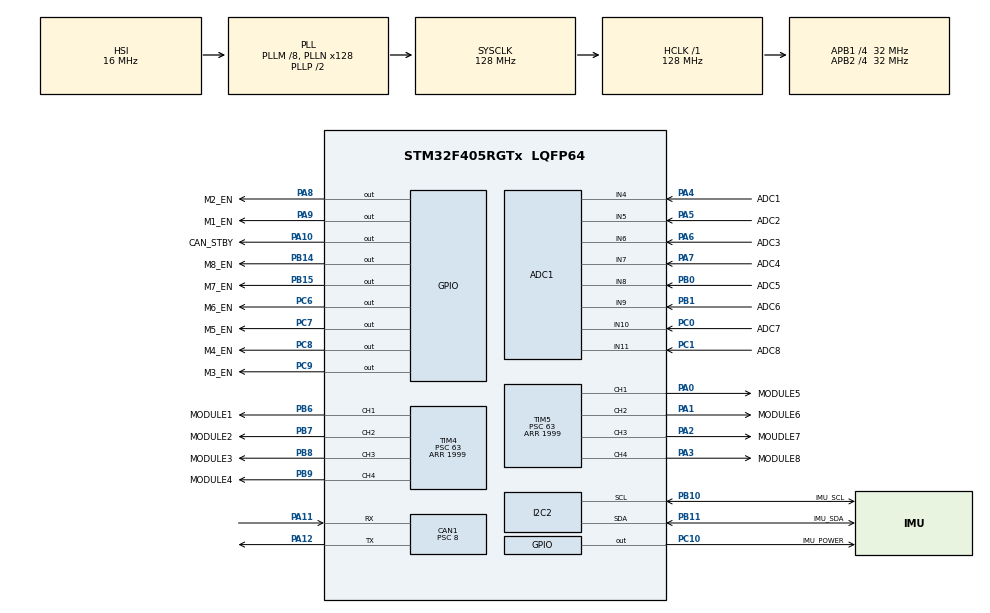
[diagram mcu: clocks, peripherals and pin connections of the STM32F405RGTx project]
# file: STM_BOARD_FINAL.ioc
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ADC1.Channel-0\#ChannelRegularConversion=ADC_CHANNEL_4
ADC1.Channel-1\#ChannelRegularConversion=ADC_CHANNEL_5
ADC1.Channel-2\#ChannelRegularConversion=ADC_CHANNEL_6
ADC1.Channel-3\#ChannelRegularConversion=ADC_CHANNEL_7
ADC1.Channel-4\#ChannelRegularConversion=ADC_CHANNEL_8
ADC1.Channel-5\#ChannelRegularConversion=ADC_CHANNEL_9
ADC1.Channel-6\#ChannelRegularConversion=ADC_CHANNEL_10
ADC1.Channel-7\#ChannelRegularConversion=ADC_CHANNEL_11
ADC1.ClockPrescaler=ADC_CLOCK_SYNC_PCLK_DIV8
ADC1.ContinuousConvMode=ENABLE
ADC1.DMAContinuousRequests=ENABLE
ADC1.EOCSelection=ADC_EOC_SEQ_CONV
ADC1.InjNumberOfConversion=0
ADC1.NbrOfConversion=8
ADC1.NbrOfConversionFlag=1
ADC1.Rank-0\#ChannelRegularConversion=1
ADC1.Rank-1\#ChannelRegularConversion=2
ADC1.Rank-2\#ChannelRegularConversion=3
ADC1.Rank-3\#ChannelRegularConversion=4
ADC1.Rank-4\#ChannelRegularConversion=5
ADC1.Rank-5\#ChannelRegularConversion=6
ADC1.Rank-6\#ChannelRegularConversion=7
ADC1.Rank-7\#ChannelRegularConversion=8
ADC1.SamplingTime-0\#ChannelRegularConversion=ADC_SAMPLETIME_3CYCLES
ADC1.SamplingTime-1\#ChannelRegularConversion=ADC_SAMPLETIME_3CYCLES
ADC1.SamplingTime-2\#ChannelRegularConversion=ADC_SAMPLETIME_3CYCLES
ADC1.SamplingTime-3\#ChannelRegularConversion=ADC_SAMPLETIME_3CYCLES
ADC1.SamplingTime-4\#ChannelRegularConversion=ADC_SAMPLETIME_3CYCLES
ADC1.SamplingTime-5\#ChannelRegularConversion=ADC_SAMPLETIME_3CYCLES
ADC1.SamplingTime-6\#ChannelRegularConversion=ADC_SAMPLETIME_3CYCLES
ADC1.SamplingTime-7\#ChannelRegularConversion=ADC_SAMPLETIME_3CYCLES
ADC1.ScanConvMode=ENABLE
ADC1.master=1
CAN1.BS1=CAN_BS1_2TQ
CAN1.CalculateTimeQuantum=250.0
CAN1.Prescaler=8
Dma.ADC1.0.Direction=DMA_PERIPH_TO_MEMORY
Dma.ADC1.0.FIFOMode=DMA_FIFOMODE_DISABLE
Dma.ADC1.0.Instance=DMA2_Stream0
Dma.ADC1.0.MemDataAlignment=DMA_MDATAALIGN_HALFWORD
Dma.ADC1.0.MemInc=DMA_MINC_ENABLE
Dma.ADC1.0.Mode=DMA_CIRCULAR
Dma.ADC1.0.PeriphDataAlignment=DMA_PDATAALIGN_HALFWORD
Dma.ADC1.0.PeriphInc=DMA_PINC_DISABLE
Dma.ADC1.0.Priority=DMA_PRIORITY_LOW
Dma.I2C2_RX.1.Direction=DMA_PERIPH_TO_MEMORY
Dma.I2C2_RX.1.FIFOMode=DMA_FIFOMODE_DISABLE
Dma.I2C2_RX.1.Instance=DMA1_Stream2
Dma.I2C2_RX.1.MemDataAlignment=DMA_MDATAALIGN_BYTE
Dma.I2C2_RX.1.MemInc=DMA_MINC_ENABLE
Dma.I2C2_RX.1.Mode=DMA_NORMAL
Dma.I2C2_RX.1.PeriphDataAlignment=DMA_PDATAALIGN_BYTE
Dma.I2C2_RX.1.PeriphInc=DMA_PINC_DISABLE
Dma.I2C2_RX.1.Priority=DMA_PRIORITY_LOW
Dma.I2C2_TX.2.Direction=DMA_MEMORY_TO_PERIPH
Dma.I2C2_TX.2.FIFOMode=DMA_FIFOMODE_DISABLE
Dma.I2C2_TX.2.Instance=DMA1_Stream7
Dma.I2C2_TX.2.MemDataAlignment=DMA_MDATAALIGN_BYTE
Dma.I2C2_TX.2.MemInc=DMA_MINC_ENABLE
Dma.I2C2_TX.2.Mode=DMA_NORMAL
Dma.I2C2_TX.2.PeriphDataAlignment=DMA_PDATAALIGN_BYTE
Dma.I2C2_TX.2.PeriphInc=DMA_PINC_DISABLE
Dma.I2C2_TX.2.Priority=DMA_PRIORITY_LOW
Dma.Request0=ADC1
Dma.Request1=I2C2_RX
Dma.Request2=I2C2_TX
Mcu.Family=STM32F4
Mcu.Name=STM32F405RGTx
Mcu.Package=LQFP64
NVIC.CAN1_RX0_IRQn=true\:0\:0\:false\:false\:true\:true\:true
NVIC.CAN1_RX1_IRQn=true\:0\:0\:false\:false\:true\:true\:true
NVIC.CAN1_TX_IRQn=true\:0\:0\:false\:false\:true\:true\:true
NVIC.DMA1_Stream2_IRQn=true\:0\:0\:false\:false\:true\:false\:true
NVIC.DMA1_Stream7_IRQn=true\:0\:0\:false\:false\:true\:false\:true
NVIC.DMA2_Stream0_IRQn=true\:0\:0\:false\:false\:true\:false\:true
NVIC.I2C2_ER_IRQn=true\:0\:0\:true\:false\:true\:true\:true
NVIC.I2C2_EV_IRQn=true\:0\:0\:true\:false\:true\:true\:true
NVIC.PriorityGroup=NVIC_PRIORITYGROUP_4
NVIC.TIM2_IRQn=true\:0\:0\:false\:false\:true\:true\:true
NVIC.TIM3_IRQn=true\:0\:0\:false\:false\:true\:true\:true
PA0-WKUP.GPIO_Label=MODULE5
PA0-WKUP.Signal=S_TIM5_CH1
PA1.GPIO_Label=MODULE6
PA1.Signal=S_TIM5_CH2
PA10.GPIO_Label=CAN_STBY
PA10.Signal=GPIO_Output
PA11.Mode=Master
PA11.Signal=CAN1_RX
PA12.Mode=Master
PA12.Signal=CAN1_TX
PA13.Mode=Serial_Wire
PA13.Signal=SYS_JTMS-SWDIO
PA14.Mode=Serial_Wire
PA14.Signal=SYS_JTCK-SWCLK
PA2.GPIO_Label=MOUDLE7
PA2.Signal=S_TIM5_CH3
PA3.GPIO_Label=MODULE8
PA3.Signal=S_TIM5_CH4
PA4.GPIO_Label=ADC1
PA4.Signal=ADCx_IN4
PA5.GPIO_Label=ADC2
PA5.Signal=ADCx_IN5
PA6.GPIO_Label=ADC3
PA6.Signal=ADCx_IN6
PA7.GPIO_Label=ADC4
PA7.Signal=ADCx_IN7
PA8.GPIO_Label=M2_EN
PA8.Signal=GPIO_Output
PA9.GPIO_Label=M1_EN
PA9.Signal=GPIO_Output
PB0.GPIO_Label=ADC5
PB0.Signal=ADCx_IN8
PB1.GPIO_Label=ADC6
PB1.Signal=ADCx_IN9
PB10.GPIO_Label=IMU_SCL
PB10.Mode=I2C
PB10.Signal=I2C2_SCL
PB11.GPIO_Label=IMU_SDA
PB11.Mode=I2C
PB11.Signal=I2C2_SDA
PB14.GPIO_Label=M8_EN
PB14.Signal=GPIO_Output
PB15.GPIO_Label=M7_EN
PB15.Signal=GPIO_Output
PB6.GPIO_Label=MODULE1
PB6.Signal=S_TIM4_CH1
PB7.GPIO_Label=MODULE2
PB7.Signal=S_TIM4_CH2
PB8.GPIO_Label=MODULE3
PB8.Signal=S_TIM4_CH3
PB9.GPIO_Label=MODULE4
PB9.Signal=S_TIM4_CH4
PC0.GPIO_Label=ADC7
PC0.Signal=ADCx_IN10
PC1.GPIO_Label=ADC8
PC1.Signal=ADCx_IN11
PC10.GPIO_Label=IMU_POWER
PC10.GPIO_PuPd=GPIO_PULLUP
PC10.PinState=GPIO_PIN_SET
PC10.Signal=GPIO_Output
PC6.GPIO_Label=M6_EN
PC6.Signal=GPIO_Output
PC7.GPIO_Label=M5_EN
PC7.Signal=GPIO_Output
PC8.GPIO_Label=M4_EN
PC8.Signal=GPIO_Output
PC9.GPIO_Label=M3_EN
PC9.Signal=GPIO_Output
PH0-OSC_IN.Mode=HSE-External-Oscillator
PH0-OSC_IN.Signal=RCC_OSC_IN
PH1-OSC_OUT.Mode=HSE-External-Oscillator
PH1-OSC_OUT.Signal=RCC_OSC_OUT
ProjectManager.HeapSize=0x200
ProjectManager.StackSize=0x400
ProjectManager.TargetToolchain=SW4STM32
RCC.48MHZClocksFreq_Value=64000000
RCC.AHBFreq_Value=128000000
RCC.APB1CLKDivider=RCC_HCLK_DIV4
RCC.APB1Freq_Value=32000000
RCC.APB1TimFreq_Value=64000000
RCC.APB2CLKDivider=RCC_HCLK_DIV4
RCC.APB2Freq_Value=32000000
RCC.APB2TimFreq_Value=64000000
RCC.CortexFreq_Value=128000000
RCC.HCLKFreq_Value=128000000
RCC.HSE_VALUE=25000000
RCC.HSI_VALUE=16000000
RCC.LSE_VALUE=32768
RCC.PLLM=8
RCC.PLLN=128
RCC.SYSCLKFreq_VALUE=128000000
RCC.SYSCLKSource=RCC_SYSCLKSOURCE_PLLCLK
RCC.VCOOutputFreq_Value=256000000
SH.ADCx_IN10.0=ADC1_IN10,IN10
SH.ADCx_IN11.0=ADC1_IN11,IN11
SH.ADCx_IN4.0=ADC1_IN4,IN4
SH.ADCx_IN5.0=ADC1_IN5,IN5
SH.ADCx_IN6.0=ADC1_IN6,IN6
SH.ADCx_IN7.0=ADC1_IN7,IN7
SH.ADCx_IN8.0=ADC1_IN8,IN8
SH.ADCx_IN9.0=ADC1_IN9,IN9
SH.S_TIM4_CH1.0=TIM4_CH1,PWM Generation1 CH1
SH.S_TIM4_CH2.0=TIM4_CH2,PWM Generation2 CH2
SH.S_TIM4_CH3.0=TIM4_CH3,PWM Generation3 CH3
SH.S_TIM4_CH4.0=TIM4_CH4,PWM Generation4 CH4
SH.S_TIM5_CH1.0=TIM5_CH1,PWM Generation1 CH1
SH.S_TIM5_CH2.0=TIM5_CH2,PWM Generation2 CH2
SH.S_TIM5_CH3.0=TIM5_CH3,PWM Generation3 CH3
SH.S_TIM5_CH4.0=TIM5_CH4,PWM Generation4 CH4
TIM2.Period=0xFFFFFFFF
TIM2.Prescaler=63
TIM3.AutoReloadPreload=TIM_AUTORELOAD_PRELOAD_ENABLE
TIM3.Period=99
TIM3.Prescaler=63
TIM3.TIM_MasterOutputTrigger=TIM_TRGO_RESET
TIM4.AutoReloadPreload=TIM_AUTORELOAD_PRELOAD_ENABLE
TIM4.Channel-PWM\ Generation1\ CH1=TIM_CHANNEL_1
TIM4.Channel-PWM\ Generation2\ CH2=TIM_CHANNEL_2
TIM4.Channel-PWM\ Generation3\ CH3=TIM_CHANNEL_3
TIM4.Channel-PWM\ Generation4\ CH4=TIM_CHANNEL_4
TIM4.Period=1999
TIM4.Prescaler=63
TIM4.Pulse-PWM\ Generation1\ CH1=1499
TIM4.Pulse-PWM\ Generation2\ CH2=1499
TIM4.Pulse-PWM\ Generation3\ CH3=1499
TIM4.Pulse-PWM\ Generation4\ CH4=1499
TIM5.AutoReloadPreload=TIM_AUTORELOAD_PRELOAD_ENABLE
TIM5.Channel-PWM\ Generation1\ CH1=TIM_CHANNEL_1
TIM5.Channel-PWM\ Generation2\ CH2=TIM_CHANNEL_2
TIM5.Channel-PWM\ Generation3\ CH3=TIM_CHANNEL_3
TIM5.Channel-PWM\ Generation4\ CH4=TIM_CHANNEL_4
TIM5.Period=1999
TIM5.Prescaler=63
TIM5.Pulse-PWM\ Generation1\ CH1=1499
TIM5.Pulse-PWM\ Generation2\ CH2=1499
TIM5.Pulse-PWM\ Generation3\ CH3=1499
TIM5.Pulse-PWM\ Generation4\ CH4=1499
VP_TIM2_VS_ClockSourceINT.Mode=Internal
VP_TIM3_VS_ClockSourceINT.Mode=Internal
VP_TIM4_VS_ClockSourceINT.Mode=Internal
VP_TIM5_VS_ClockSourceINT.Mode=Internal
board=custom

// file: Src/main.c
/* USER CODE BEGIN Header */
/**
  ******************************************************************************
  * @file           : main.c
  * @brief          : Main program body
  ******************************************************************************
  * @attention
  *
  * <h2><center>&copy; Copyright (c) 2019 STMicroelectronics.
  * All rights reserved.</center></h2>
  *
  * This software component is licensed by ST under BSD 3-Clause license,
  * the "License"; You may not use this file except in compliance with the
  * License. You may obtain a copy of the License at:
  *                        opensource.org/licenses/BSD-3-Clause
  *
  ******************************************************************************
  */
/* USER CODE END Header */

#include "main.h"
#include "adc.h"
#include "can.h"
#include "dma.h"
#include "i2c.h"
#include "tim.h"
#include "gpio.h"

/* USER CODE BEGIN Includes */
#include "LSM6DS33.h"
#include "LIS3MDL.h"
#include "IMU.h"
#include "PID.h"
#include "can_parser.h"
/* USER CODE END Includes */

/* USER CODE BEGIN PV */

uint16_t VirtAddVarTab[NB_OF_VAR] = {0x0000, 0x0001, 0x0002,0x0003,0x0004, 0x0005, 0x0006,0x0007,
									 0x0008, 0x0009, 0x000A,0x000B,0x000C, 0x000D, 0x000E,0x000F,
									 0x0010, 0x0011, 0x0012,0x0013,0x0014, 0x0015, 0x0016};

#define VERSION_STR_LENG 35

float MFX_DELTATIME =  0.010;

char lib_version[VERSION_STR_LENG];
char acc_orientation[3];

//MFX_knobs_t iKnobs;
//MFX_input_t data_in;W
//MFX_output_t data_out;

float ypr[3];

volatile uint16_t Timer1, Timer2, Timer3, Timer4;

/* USER CODE END PV */

void SystemClock_Config(void);

int main(void)
{

  /* MCU Configuration--------------------------------------------------------*/

  /* Reset of all peripherals, Initializes the Flash interface and the Systick. */
  HAL_Init();

  /* Configure the system clock */
  SystemClock_Config();

  /* Initialize all configured peripherals */
  MX_GPIO_Init();
  MX_DMA_Init();
  MX_ADC1_Init();
  MX_CAN1_Init();
  MX_I2C2_Init();
  MX_TIM4_Init();
  MX_TIM5_Init();
  MX_TIM2_Init();
  MX_TIM3_Init();
  /* USER CODE BEGIN 2 */

  IMU_OFF();
  HAL_Delay(100);
  IMU_ON();
  HAL_TIM_Base_Start(&htim2);
  MODULE_Init();
  HAL_Delay(5000);
  ENGINE_Init();
  HAL_TIM_Base_Start_IT(&htim3);
  CAN_PARSER_Init();

  PID_Init(&PID_RegRoll, PID_ROLL_INIT_P, PID_ROLL_INIT_I, PID_ROLL_INIT_D);
  PID_Init(&PID_RegPitch, PID_PITCH_INIT_P, PID_PITCH_INIT_I, PID_PITCH_INIT_D);
  PID_Init(&PID_RegYaw, PID_YAW_INIT_P, PID_YAW_INIT_I, PID_YAW_INIT_D);

//  HAL_GPIO_WritePin(GPIOB,GPIO_PIN_14,SET);

  HAL_SYSTICK_Config(SystemCoreClock/1000);
  LSM6DS33_Init(ODR_104HZ,ODR_104HZ);
  HAL_Delay(100);
  LIS3MDL_Init(ODR_80HZ);
  HAL_Delay(100);
  Timer1 = 100;
  Timer2 = 10;
  Timer3 = 5;
  Timer4 = 12;

  /* USER CODE END 2 */

  /* Infinite loop */
  /* USER CODE BEGIN WHILE */

      //	MotionFX_initialize();
      //	MotionFX_GetLibVersion(lib_version);
      	//MotionFX_getKnobs(&iKnobs);
      	/* Modify knobs settings */
      	//MotionFX_setKnobs(&iKnobs);
      	/* Enable 9-axis sensor fusion */
      	//MotionFX_enable_9X(MFX_ENGINE_ENABLE);

    IMU_init();
    Initialize_Q();
    while (1)
    {
  	  if(!Timer2)
  	 	 	  {
  		 IMU_getYawPitchRoll(ypr);

  	 	 		  Timer2 = 10;

  	 	 	  }
  	  if(!Timer4)
  	  {
  		  //MotionFX_propagate(&data_out, &data_in, &MFX_DELTATIME);
  		//  MotionFX_update(&data_out, &data_in, &MFX_DELTATIME, NULL);
  		  Timer4 = 10;
  	  }
  	  if(!Timer3)
  	  	  {
  //	  				data_in.acc[0] = accGyroData.accX /ACC_SCALE;
  //	  				data_in.acc[1] = accGyroData.accY  /ACC_SCALE;
  //	  				data_in.acc[2] = accGyroData.accZ / ACC_SCALE;
  //	  				data_in.gyro[0] = ((accGyroData.gyroX ) / GYRO_SCALE);// * M_PI/180.0;
  //	  				data_in.gyro[1] = ((accGyroData.gyroY ) / GYRO_SCALE);// * M_PI/180.0;
  //	  				data_in.gyro[2] = ((accGyroData.gyroZ ) / GYRO_SCALE);// * M_PI/180.0;
  //	  				data_in.mag[0] = ((magData.magX));///(float)(INT16_MAX/16)*2;
  //	  				data_in.mag[1] = ((magData.magY));///(float)(INT16_MAX/16)*2;
  //	  				data_in.mag[2] = ((magData.magZ));///(float)(INT16_MAX/16)*2;

  	  		  	  	Timer3 = 25;
  	  	  }
    /* USER CODE END WHILE */

    /* USER CODE BEGIN 3 */
  	//CAN_PARSER_AddMessage(CAN_ROLL_CURRENT , ypr, 4, &CAN_TXMailbox1);
  	//HAL_Delay(1);
	//CAN_PARSER_AddMessage(CAN_PITCH_CURRENT , ypr+1, 4, &CAN_TXMailbox2);
	//HAL_Delay(1);
	//CAN_PARSER_AddMessage(CAN_YAW_CURRENT  , ypr+2, 4, &CAN_TXMailbox3);
	//HAL_Delay(1);
    }
  /* USER CODE END 3 */
}

void SystemClock_Config(void)
{
  RCC_OscInitTypeDef RCC_OscInitStruct = {0};
  RCC_ClkInitTypeDef RCC_ClkInitStruct = {0};

  /** Configure the main internal regulator output voltage
  */
  __HAL_RCC_PWR_CLK_ENABLE();
  __HAL_PWR_VOLTAGESCALING_CONFIG(PWR_REGULATOR_VOLTAGE_SCALE1);
  /** Initializes the CPU, AHB and APB busses clocks
  */
  RCC_OscInitStruct.OscillatorType = RCC_OSCILLATORTYPE_HSI;
  RCC_OscInitStruct.HSIState = RCC_HSI_ON;
  RCC_OscInitStruct.HSICalibrationValue = RCC_HSICALIBRATION_DEFAULT;
  RCC_OscInitStruct.PLL.PLLState = RCC_PLL_ON;
  RCC_OscInitStruct.PLL.PLLSource = RCC_PLLSOURCE_HSI;
  RCC_OscInitStruct.PLL.PLLM = 8;
  RCC_OscInitStruct.PLL.PLLN = 128;
  RCC_OscInitStruct.PLL.PLLP = RCC_PLLP_DIV2;
  RCC_OscInitStruct.PLL.PLLQ = 4;
  if (HAL_RCC_OscConfig(&RCC_OscInitStruct) != HAL_OK)
  {
    Error_Handler();
  }
  /** Initializes the CPU, AHB and APB busses clocks
  */
  RCC_ClkInitStruct.ClockType = RCC_CLOCKTYPE_HCLK|RCC_CLOCKTYPE_SYSCLK
                              |RCC_CLOCKTYPE_PCLK1|RCC_CLOCKTYPE_PCLK2;
  RCC_ClkInitStruct.SYSCLKSource = RCC_SYSCLKSOURCE_PLLCLK;
  RCC_ClkInitStruct.AHBCLKDivider = RCC_SYSCLK_DIV1;
  RCC_ClkInitStruct.APB1CLKDivider = RCC_HCLK_DIV4;
  RCC_ClkInitStruct.APB2CLKDivider = RCC_HCLK_DIV4;

  if (HAL_RCC_ClockConfig(&RCC_ClkInitStruct, FLASH_LATENCY_4) != HAL_OK)
  {
    Error_Handler();
  }
}

void Error_Handler(void)
{
}

/************************ (C) COPYRIGHT STMicroelectronics *****END OF FILE****/
